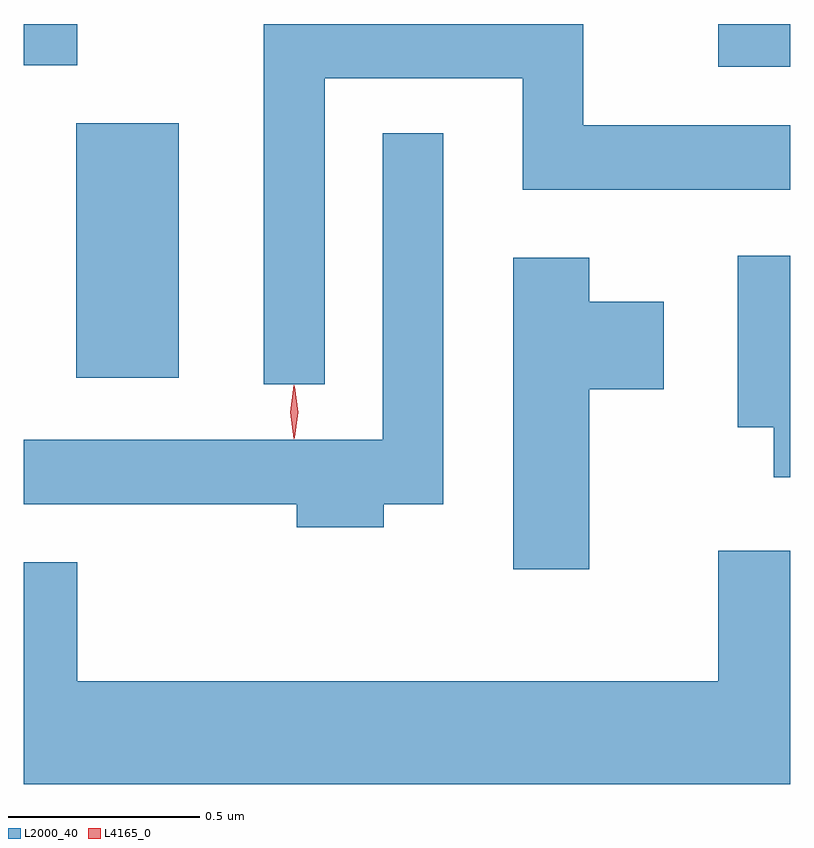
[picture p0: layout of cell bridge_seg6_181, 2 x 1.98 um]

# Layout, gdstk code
import gdstk
lib = gdstk.Library(unit=1e-6, precision=1e-09)
def R(c, l, rs):  # rectangles x0, y0, x1, y1
    for r in rs: c.add(gdstk.rectangle(r[:2], r[2:], *l))
def P(c, l, *ps):  # polygons
    for p in ps: c.add(gdstk.Polygon(p, *l))
L2000_40 = (2000, 40)
L4165_0 = (4165, 0)

bridge_seg6_181 = lib.new_cell('bridge_seg6_181')
R(bridge_seg6_181, L2000_40, [(1076.256,1588.836,1076.524,1589.499), (1077.931,1589.646,1078.119,1589.758), (1076.119,1589.651,1076.259,1589.758)])
P(bridge_seg6_181, L2000_40, [(1076.904,1589.616),(1077.421,1589.616),(1077.421,1589.326),(1078.119,1589.326),(1078.119,1589.494),(1077.579,1589.494),(1077.579,1589.758),(1076.746,1589.758),(1076.746,1588.818),(1076.904,1588.818)],
  [(1077.059,1588.506),(1077.214,1588.506),(1077.214,1589.473),(1077.056,1589.473),(1077.056,1588.674),(1076.119,1588.674),(1076.119,1588.506),(1076.831,1588.506),(1076.831,1588.446),(1077.059,1588.446)],
  [(1078.119,1589.154),(1077.981,1589.154),(1077.981,1588.706),(1078.076,1588.706),(1078.076,1588.576),(1078.119,1588.576)],
  [(1077.594,1588.806),(1077.789,1588.806),(1077.789,1589.034),(1077.594,1589.034),(1077.594,1589.149),(1077.396,1589.149),(1077.396,1588.336),(1077.594,1588.336)],
  [(1078.119,1588.384),(1077.931,1588.384),(1077.931,1588.044),(1076.259,1588.044),(1076.259,1588.354),(1076.119,1588.354),(1076.119,1587.776),(1078.119,1587.776)])
P(bridge_seg6_181, L4165_0, [(1076.826,1588.679),(1076.825,1588.68),(1076.816,1588.746),(1076.825,1588.812),(1076.825,1588.813),(1076.826,1588.812),(1076.836,1588.746),(1076.826,1588.68)],
  [(1076.824,1588.677),(1076.815,1588.746),(1076.824,1588.816),(1076.825,1588.816),(1076.825,1588.816),(1076.835,1588.746),(1076.825,1588.677),(1076.825,1588.677)])

lib.write_gds('bridge_seg6_181.gds')
